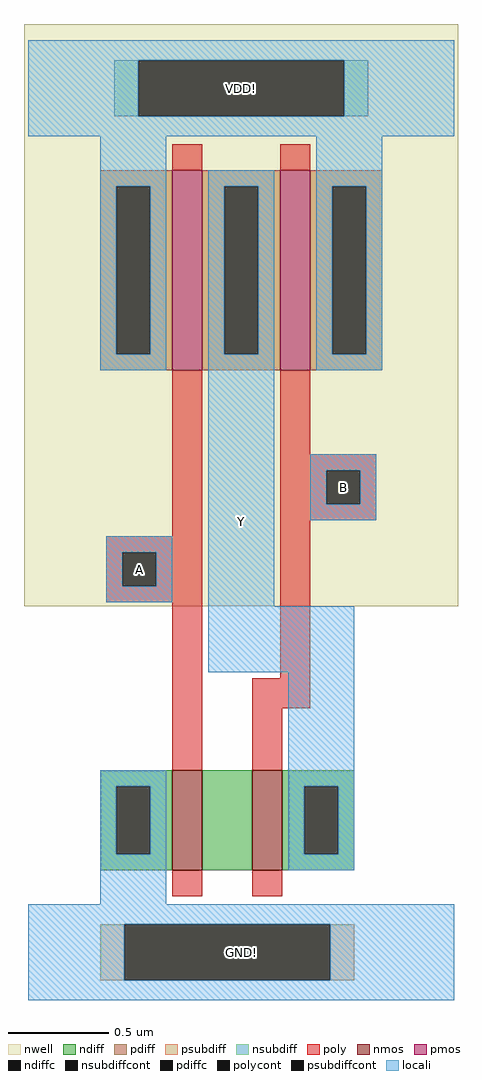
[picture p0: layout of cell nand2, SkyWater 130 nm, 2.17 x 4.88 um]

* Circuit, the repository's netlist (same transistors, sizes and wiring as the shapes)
* NGSPICE file created from nand2.ext - technology: sky130A

*.subckt nand2 VDD GND Y A B
X0 a_94_6# A GND GND sky130_fd_pr__nfet_01v8 ad=1.25e+11p pd=1.5e+06u as=1.8e+11p ps=1.72e+06u w=500000u l=150000u
X1 VDD B Y VDD sky130_fd_pr__pfet_01v8 ad=7.2e+11p pd=5.44e+06u as=3.9e+11p ps=2.78e+06u w=1e+06u l=150000u
X2 Y A VDD VDD sky130_fd_pr__pfet_01v8 ad=0p pd=0u as=0p ps=0u w=1e+06u l=150000u
X3 Y B a_94_6# GND sky130_fd_pr__nfet_01v8 ad=1.8e+11p pd=1.72e+06u as=0p ps=0u w=500000u l=150000u
*.ends

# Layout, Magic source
magic
tech sky130A
<< nwell >>
rect -42 135 175 426
<< nmos >>
rect 32 3 47 53
rect 72 3 87 53
<< pmos >>
rect 32 253 47 353
rect 86 253 101 353
<< ndiff >>
rect -4 45 32 53
rect -4 11 4 45
rect 21 11 32 45
rect -4 3 32 11
rect 47 3 72 53
rect 87 45 123 53
rect 87 11 98 45
rect 115 11 123 45
rect 87 3 123 11
<< pdiff >>
rect -4 345 32 353
rect -4 261 4 345
rect 21 261 32 345
rect -4 253 32 261
rect 47 345 86 353
rect 47 261 58 345
rect 75 261 86 345
rect 47 253 86 261
rect 101 345 137 353
rect 101 261 112 345
rect 129 261 137 345
rect 101 253 137 261
<< ndiffc >>
rect 4 11 21 45
rect 98 11 115 45
<< pdiffc >>
rect 4 261 21 345
rect 58 261 75 345
rect 112 261 129 345
<< psubdiff >>
rect -4 -52 8 -24
rect 111 -52 123 -24
<< nsubdiff >>
rect 3 380 15 408
rect 118 380 130 408
<< psubdiffcont >>
rect 8 -52 111 -24
<< nsubdiffcont >>
rect 15 380 118 408
<< poly >>
rect 32 353 47 366
rect 86 353 101 366
rect 32 170 47 253
rect -1 162 47 170
rect -1 145 7 162
rect 24 145 47 162
rect -1 137 47 145
rect 32 53 47 137
rect 86 211 101 253
rect 86 203 134 211
rect 86 186 109 203
rect 126 186 134 203
rect 86 178 134 186
rect 86 99 101 178
rect 72 84 101 99
rect 72 53 87 84
rect 32 -10 47 3
rect 72 -10 87 3
<< polycont >>
rect 7 145 24 162
rect 109 186 126 203
<< locali >>
rect -40 408 173 418
rect -40 380 15 408
rect 118 380 173 408
rect -40 370 173 380
rect -4 345 29 370
rect -4 261 4 345
rect 21 261 29 345
rect -4 253 29 261
rect 50 345 83 353
rect 50 261 58 345
rect 75 261 83 345
rect -1 162 32 170
rect -1 145 7 162
rect 24 145 32 162
rect -1 137 32 145
rect 50 135 83 261
rect 104 345 137 370
rect 104 261 112 345
rect 129 261 137 345
rect 104 253 137 261
rect 101 203 134 211
rect 101 186 109 203
rect 126 186 134 203
rect 101 178 134 186
rect 50 102 123 135
rect -4 45 29 53
rect -4 11 4 45
rect 21 11 29 45
rect -4 -14 29 11
rect 90 45 123 102
rect 90 11 98 45
rect 115 11 123 45
rect 90 3 123 11
rect -40 -24 173 -14
rect -40 -52 8 -24
rect 111 -52 173 -24
rect -40 -62 173 -52
<< labels >>
flabel locali -1 137 32 170 0 FreeSerif 80 0 0 0 A
port 3 nsew
flabel locali 101 178 134 211 0 FreeSerif 80 0 0 0 B
port 8 nsew
flabel locali 50 102 83 253 0 FreeSerif 80 0 0 0 Y
port 2 nsew
flabel locali -40 370 173 418 0 FreeSerif 80 0 0 0 VDD!
port 0 nsew
flabel locali -40 -62 173 -14 0 FreeSerif 80 0 0 0 GND!
port 1 nsew
<< end >>
